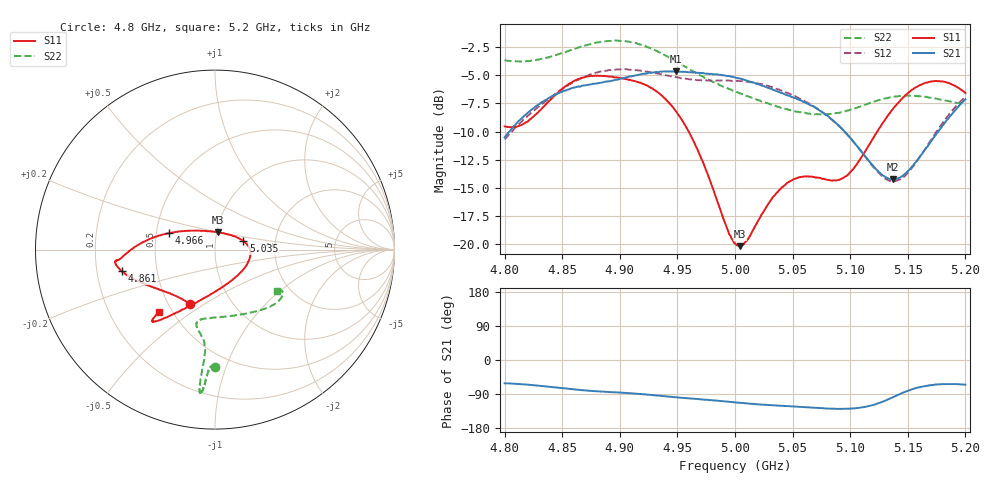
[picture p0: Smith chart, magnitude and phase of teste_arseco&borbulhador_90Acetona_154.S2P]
! Network Analyzer HP8722D
! Hewlett-Packard
! Data name: Linha & Wilkinson
! Saver's name: Rodrigo Anjos
! Comments: Teste da utilização de aquisição
! continua pelo VNA HP8722D
! Time and date: 17/4/2025 12:20
!  Frequency  S11  S21  S12  S22
# HZ  S  MA R 50
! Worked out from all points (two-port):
!   401 points, 4.8 GHz to 5.2 GHz, reference 50 ohm
!   highest |S21| = -4.63 dB at 4.949 GHz (marker M1); lowest = -14.3 dB at 5.137 GHz (marker M2)
!   |S21| within 3 dB of the highest: 4.829 GHz to 5.065 GHz (236 MHz wide, 4.77 % of centre); 5.194987 GHz to end of sweep
!   lowest |S11| = -20.2 dB at 5.004 GHz (marker M3), VSWR 1.22, Z = 50.6 + j9.83 ohm
!   |S11| at or under -10 dB: 4.96 GHz to 5.123 GHz (163.7 MHz wide, 3.25 % of centre)
!   |S22| runs from -8.5 to -1.9 dB; largest |S21 - S12| = 0.88
!   S11 on the Smith chart (normalised r, x): 4.8 GHz: 0.64, -0.43; 4.861 GHz: 0.31, -0.10; 4.966 GHz: 0.58, +0.12; 5.035 GHz: 1.37, +0.13; 5.2 GHz: 0.42, -0.38
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4.8e9  0.3335 -114.9  0.2979 -61.5  0.2915 -175.6  0.6564 -90.2
4.819e9  0.3485 -134.9  0.3786 -64.8  0.3657 -174.5  0.6516 -91.8
4.861e9  0.534 -166.9  0.4973 -77.9  0.5291 -177.8  0.7395 -94.3
4.867e9  0.5483 -169.4  0.5062 -79.5  0.5485 -178.9  0.7565 -94.5
4.898e9  0.5494 -173.8  0.5379 -85.5  0.5976 175.2  0.8046 -95.7
4.934e9  0.4689 -180.0  0.5821 -94.2  0.5725 171.3  0.7138 -96.3
4.949e9  0.3883 172.8  0.5866 -98.1  0.5532 171.7  0.6486 -95.9
4.966e9  0.2724 160.4  0.579 -102.6  0.5371 173.3  0.5766 -95.5
4.993e9  0.1175 117.6  0.5596 -109.9  0.5331 175.4  0.4942 -98.3
5e9  0.1003 95.4  0.552 -111.8  0.5336 175.4  0.4774 -99.7
5.004e9  0.09745 81.1  0.5455 -112.6  0.5303 175.5  0.4685 -100.6
5.012e9  0.1061 55.6  0.5288 -115.0  0.5265 175.2  0.4521 -102.3
5.035e9  0.1652 16.7  0.4813 -119.9  0.4927 174.2  0.4116 -103.8
5.05e9  0.1923 1.8  0.4497 -122.6  0.4585 173.4  0.3917 -99.5
5.067e9  0.199 -16.4  0.412 -125.6  0.4132 173.1  0.3792 -90.6
5.097e9  0.2007 -69.1  0.3084 -128.8  0.3087 174.5  0.3911 -67.0
5.134e9  0.3795 -118.4  0.1944 -102.5  0.191 -155.5  0.4484 -43.2
5.137e9  0.398 -120.2  0.1934 -98.3  0.1899 -150.7  0.4513 -42.0
5.148e9  0.4594 -125.2  0.2057 -83.7  0.2017 -133.7  0.457 -37.7
5.168e9  0.5253 -130.2  0.2757 -67.3  0.279 -113.5  0.4478 -32.7
5.184e9  0.5226 -131.7  0.3563 -63.6  0.3672 -107.8  0.4337 -31.7
5.2e9  0.4692 -132.0  0.4403 -65.2  0.4513 -107.1  0.4167 -34.0
